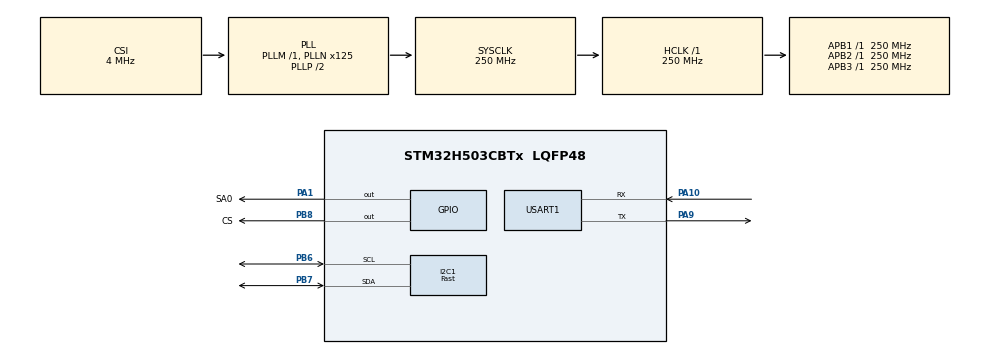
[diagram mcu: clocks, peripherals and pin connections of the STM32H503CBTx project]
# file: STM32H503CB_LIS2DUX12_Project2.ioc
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BOOTPATH.BootPathName=LEGACY
BOOTPATH.UserSelectedBootPath=LEGACY
I2C1.I2C_Speed_Mode=I2C_Fast
I2C1.Timing=0x10C043E5
Mcu.Family=STM32H5
Mcu.Name=STM32H503CBTx
Mcu.Package=LQFP48
NVIC.PriorityGroup=NVIC_PRIORITYGROUP_4
NVIC.USART1_IRQn=true\:0\:0\:false\:false\:true\:true\:true\:true
PA1.GPIO_Label=SA0
PA1.Signal=GPIO_Output
PA10.Mode=Asynchronous
PA10.Signal=USART1_RX
PA9.Mode=Asynchronous
PA9.Signal=USART1_TX
PB6.Mode=I2C
PB6.Signal=I2C1_SCL
PB7.Mode=I2C
PB7.Signal=I2C1_SDA
PB8.GPIO_Label=CS
PB8.Signal=GPIO_Output
ProjectManager.HeapSize=0x2000
ProjectManager.StackSize=0x4000
ProjectManager.TargetToolchain=MDK-ARM V5.37
RCC.ADCFreq_Value=250000000
RCC.AHBFreq_Value=250000000
RCC.APB1Freq_Value=250000000
RCC.APB1TimFreq_Value=250000000
RCC.APB2Freq_Value=250000000
RCC.APB2TimFreq_Value=250000000
RCC.APB3Freq_Value=250000000
RCC.CSI_VALUE=4000000
RCC.CortexFreq_Value=250000000
RCC.EPOD_VALUE=4000000
RCC.HCLKFreq_Value=250000000
RCC.HSE_VALUE=25000000
RCC.HSI48_VALUE=48000000
RCC.HSI_VALUE=64000000
RCC.LSE_VALUE=32768
RCC.LSIRC_VALUE=32000
RCC.PLL2FRACN=0
RCC.PLLFRACN=0
RCC.PLLN=125
RCC.SYSCLKFreq_VALUE=250000000
RCC.SYSCLKSource=RCC_SYSCLKSOURCE_PLLCLK
RCC.USBFreq_Value=48000000
RCC.VCOOutputFreq_Value=500000000
USART1.VirtualMode-Asynchronous=VM_ASYNC
VP_BOOTPATH_VS_BOOTPATH.Mode=BP_Activate
VP_CORTEX_M33_NS_VS_Hclk.Mode=Hclk_Mode
VP_ICACHE_VS_ICACHE.Mode=DirectMappedCache
VP_MEMORYMAP_VS_MEMORYMAP.Mode=CurAppReg
VP_PWR_VS_LPOM.Mode=PowerOptimisation
VP_PWR_VS_SECSignals.Mode=Security/Privilege
board=custom

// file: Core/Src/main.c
/* USER CODE BEGIN Header */
/**
  ******************************************************************************
  * @file           : main.c
  * @brief          : Main program body
  ******************************************************************************
  * @attention
  *
  * Copyright (c) 2025 STMicroelectronics.
  * All rights reserved.
  *
  * This software is licensed under terms that can be found in the LICENSE file
  * in the root directory of this software component.
  * If no LICENSE file comes with this software, it is provided AS-IS.
  *
  ******************************************************************************
  */
/* USER CODE END Header */
#include "main.h"
#include "i2c.h"
#include "icache.h"
#include "usart.h"
#include "gpio.h"

/* USER CODE BEGIN Includes */
#include "stdio.h"
#include "lis2dux12_reg.h"
/* USER CODE END Includes */

void SystemClock_Config(void);
/* USER CODE BEGIN PFP */
int fputc(int ch, FILE *f){
	HAL_UART_Transmit(&huart1 , (uint8_t *)&ch, 1, 0xFFFF);
	return ch;
}
/* USER CODE END PFP */

/* USER CODE BEGIN 0 */
#define SENSOR_BUS hi2c1

/* Private typedef -----------------------------------------------------------*/

/* Private macro -------------------------------------------------------------*/
#define    BOOT_TIME         10 //ms

/* Private variables ---------------------------------------------------------*/
static uint8_t tx_buffer[1000];
static lis2dux12_xl_data_t data_xl;
static lis2dux12_outt_data_t data_temp;

/* Extern variables ----------------------------------------------------------*/

/* Private functions ---------------------------------------------------------*/

/*
 *   WARNING:
 *   Functions declare in this section are defined at the end of this file
 *   and are strictly related to the hardware platform used.
 *
 */
static int32_t platform_write(void *handle, uint8_t reg, const uint8_t *bufp,
                              uint16_t len);
static int32_t platform_read(void *handle, uint8_t reg, uint8_t *bufp,
                             uint16_t len);
static void tx_com( uint8_t *tx_buffer, uint16_t len );
static void platform_delay(uint32_t ms);
static void platform_init(void);

float data_accx_min=0,data_accx_max=0;//加速度计x轴极值
float data_accy_min=0,data_accy_max=0;//加速度计y轴极值
float data_accz_min=0,data_accz_max=0;//加速度计z轴极值

float Offset_x=0.0f;//x偏移
float Scale_factor_x=0.0f;//x灵敏度
float Offset_y=0.0f;//y偏移
float Scale_factor_y=0.0f;//y灵敏度
float Offset_z=0.0f;//z偏移
float Scale_factor_z=0.0f;//z灵敏度

float calibrated_x=0.0f;//校准后加速度计x轴值
float calibrated_y=0.0f;//校准后加速度计y轴值
float calibrated_z=0.0f;//校准后加速度计z轴值

int acc_i=0;

uint8_t RxBuff[1];      //进入中断接收数据的数组
int Rx_flag=0;					//接受到数据标志

void calculate_calibration_params(void) {

	Offset_x=(data_accx_max+data_accx_min)/2;
	Offset_y=(data_accy_max+data_accy_min)/2;
	Offset_z=(data_accz_max+data_accz_min)/2;

	Scale_factor_x=(data_accx_max-data_accx_min)/2;
	Scale_factor_y=(data_accy_max-data_accy_min)/2;
	Scale_factor_z=(data_accz_max-data_accz_min)/2;

}

/* USER CODE END 0 */

int main(void)
{

  /* MCU Configuration--------------------------------------------------------*/

  /* Reset of all peripherals, Initializes the Flash interface and the Systick. */
  HAL_Init();

  /* Configure the system clock */
  SystemClock_Config();

  /* Initialize all configured peripherals */
  MX_GPIO_Init();
  MX_I2C1_Init();
  MX_ICACHE_Init();
  MX_USART1_UART_Init();
  /* USER CODE BEGIN 2 */
	printf("HELLO\n");
	HAL_GPIO_WritePin(CS_GPIO_Port, CS_Pin, GPIO_PIN_SET);
	HAL_GPIO_WritePin(SA0_GPIO_Port, SA0_Pin, GPIO_PIN_RESET);

  lis2dux12_status_t status;
  stmdev_ctx_t dev_ctx;
  uint8_t id;
  lis2dux12_md_t md;

  /* Initialize mems driver interface */
  dev_ctx.write_reg = platform_write;
  dev_ctx.read_reg = platform_read;
  dev_ctx.mdelay = platform_delay;
  dev_ctx.handle = &SENSOR_BUS;

  /* Initialize platform specific hardware */
//  platform_init();

  /* Wait sensor boot time */
  platform_delay(BOOT_TIME);

  lis2dux12_exit_deep_power_down(&dev_ctx);

  /* Check device ID */
  lis2dux12_device_id_get(&dev_ctx, &id);
	printf("LIS2DUX12_ID=0x%x,id=0x%x\n",LIS2DUX12_ID,id);
  if (id != LIS2DUX12_ID)
    while(1);

  /* Restore default configuration */
  lis2dux12_sw_reset(&dev_ctx);

  /* init bdu and add_inc */
  lis2dux12_init_set(&dev_ctx);

  /* Set Output Data Rate */
  md.fs =  LIS2DUX12_4g;
  md.bw = LIS2DUX12_ODR_div_4;
  md.odr = LIS2DUX12_3Hz_ULP;
  lis2dux12_mode_set(&dev_ctx, &md);

	HAL_UART_Receive_IT(&huart1, (uint8_t *)RxBuff, 1); //打开串口中断接收
  /* USER CODE END 2 */

  /* Infinite loop */
  /* USER CODE BEGIN WHILE */
  while (1)
  {
		/* Read output only if new values are available */
   /* Read output only if new values are available */
    lis2dux12_status_get(&dev_ctx, &status);
    if (status.drdy) {
      lis2dux12_xl_data_get(&dev_ctx, &md, &data_xl);
		if(Rx_flag==1)//X轴min
		{
			data_accx_min=data_xl.mg[0];
			Rx_flag=0;
			calculate_calibration_params();
		}
		else if(Rx_flag==2)//X轴max
		{
			data_accx_max=data_xl.mg[0];
			Rx_flag=0;
			calculate_calibration_params();
		}
		else if(Rx_flag==3)//Y轴min
		{
			data_accy_min=data_xl.mg[1];
			Rx_flag=0;
			calculate_calibration_params();
		}
		else if(Rx_flag==4)//Y轴max
		{
			data_accy_max=data_xl.mg[1];
			Rx_flag=0;
			calculate_calibration_params();
		}
		else if(Rx_flag==5)//Y轴min
		{
			data_accz_min=data_xl.mg[2];
			Rx_flag=0;
			calculate_calibration_params();
		}
		else if(Rx_flag==6)//Y轴max
		{
			data_accz_max=data_xl.mg[2];
			Rx_flag=0;
			calculate_calibration_params();
		}

			calibrated_x=1000*(data_xl.mg[0]-Offset_x)/Scale_factor_x;
			calibrated_y=1000*(data_xl.mg[1]-Offset_y)/Scale_factor_y;
			calibrated_z=1000*(data_xl.mg[2]-Offset_z)/Scale_factor_z;

			printf("min_x=%4.2f,max_x=%4.2lf,min_y=%4.2f,max_y=%4.2f,min_z=%4.2f,max_z=%4.2f\r\n",
			data_accx_min,data_accx_max,data_accy_min,data_accy_max,data_accz_min,data_accz_max);
			printf("校准前acc[mg]:%4.2f\t%4.2f\t%4.2f\r\n",
			data_xl.mg[0], data_xl.mg[1], data_xl.mg[2]);
			printf("校准后acc[mg]:%4.2f\t%4.2f\t%4.2f\r\n",
			calibrated_x, calibrated_y, calibrated_z);
		}
		HAL_Delay(10);

    /* USER CODE END WHILE */

  }
}

void SystemClock_Config(void)
{
  RCC_OscInitTypeDef RCC_OscInitStruct = {0};
  RCC_ClkInitTypeDef RCC_ClkInitStruct = {0};

  /** Configure the main internal regulator output voltage
  */
  __HAL_PWR_VOLTAGESCALING_CONFIG(PWR_REGULATOR_VOLTAGE_SCALE0);

  while(!__HAL_PWR_GET_FLAG(PWR_FLAG_VOSRDY)) {}

  /** Initializes the RCC Oscillators according to the specified parameters
  * in the RCC_OscInitTypeDef structure.
  */
  RCC_OscInitStruct.OscillatorType = RCC_OSCILLATORTYPE_CSI;
  RCC_OscInitStruct.CSIState = RCC_CSI_ON;
  RCC_OscInitStruct.CSICalibrationValue = RCC_CSICALIBRATION_DEFAULT;
  RCC_OscInitStruct.PLL.PLLState = RCC_PLL_ON;
  RCC_OscInitStruct.PLL.PLLSource = RCC_PLL1_SOURCE_CSI;
  RCC_OscInitStruct.PLL.PLLM = 1;
  RCC_OscInitStruct.PLL.PLLN = 125;
  RCC_OscInitStruct.PLL.PLLP = 2;
  RCC_OscInitStruct.PLL.PLLQ = 2;
  RCC_OscInitStruct.PLL.PLLR = 2;
  RCC_OscInitStruct.PLL.PLLRGE = RCC_PLL1_VCIRANGE_2;
  RCC_OscInitStruct.PLL.PLLVCOSEL = RCC_PLL1_VCORANGE_WIDE;
  RCC_OscInitStruct.PLL.PLLFRACN = 0;
  if (HAL_RCC_OscConfig(&RCC_OscInitStruct) != HAL_OK)
  {
    Error_Handler();
  }

  /** Initializes the CPU, AHB and APB buses clocks
  */
  RCC_ClkInitStruct.ClockType = RCC_CLOCKTYPE_HCLK|RCC_CLOCKTYPE_SYSCLK
                              |RCC_CLOCKTYPE_PCLK1|RCC_CLOCKTYPE_PCLK2
                              |RCC_CLOCKTYPE_PCLK3;
  RCC_ClkInitStruct.SYSCLKSource = RCC_SYSCLKSOURCE_PLLCLK;
  RCC_ClkInitStruct.AHBCLKDivider = RCC_SYSCLK_DIV1;
  RCC_ClkInitStruct.APB1CLKDivider = RCC_HCLK_DIV1;
  RCC_ClkInitStruct.APB2CLKDivider = RCC_HCLK_DIV1;
  RCC_ClkInitStruct.APB3CLKDivider = RCC_HCLK_DIV1;

  if (HAL_RCC_ClockConfig(&RCC_ClkInitStruct, FLASH_LATENCY_5) != HAL_OK)
  {
    Error_Handler();
  }

  /** Configure the programming delay
  */
  __HAL_FLASH_SET_PROGRAM_DELAY(FLASH_PROGRAMMING_DELAY_2);
}

/* USER CODE BEGIN 4 */

// 捕获中断回调函数，每次捕获到信号就会进入这个回调函数
void HAL_UART_RxCpltCallback(UART_HandleTypeDef*UartHandle)
{

    Rx_flag=RxBuff[0];
    RxBuff[0]=0;
//	printf("flag=%d",Rx_flag);
    HAL_UART_Receive_IT(&huart1, (uint8_t *)RxBuff, 1); //每接收一个数据，就打开一次串口中断接收，否则只会接收一个数据就停止接收

}

/*
 * @brief  Write generic device register (platform dependent)
 *
 * @param  handle    customizable argument. In this examples is used in
 *                   order to select the correct sensor bus handler.
 * @param  reg       register to write
 * @param  bufp      pointer to data to write in register reg
 * @param  len       number of consecutive register to write
 *
 */
static int32_t platform_write(void *handle, uint8_t reg,
                              const uint8_t *bufp, uint16_t len)
{
  HAL_I2C_Mem_Write(handle, LIS2DUX12_I2C_ADD_L, reg,
                    I2C_MEMADD_SIZE_8BIT, (uint8_t*) bufp, len, 1000);
  return 0;
}

/*
 * @brief  Read generic device register (platform dependent)
 *
 * @param  handle    customizable argument. In this examples is used in
 *                   order to select the correct sensor bus handler.
 * @param  reg       register to read
 * @param  bufp      pointer to buffer that store the data read
 * @param  len       number of consecutive register to read
 *
 */
static int32_t platform_read(void *handle, uint8_t reg, uint8_t *bufp,
                             uint16_t len)
{
  HAL_I2C_Mem_Read(handle, LIS2DUX12_I2C_ADD_L, reg,
                   I2C_MEMADD_SIZE_8BIT, bufp, len, 1000);
  return 0;
}

/*
 * @brief  platform specific delay (platform dependent)
 *
 * @param  ms        delay in ms
 *
 */
static void platform_delay(uint32_t ms)
{
  HAL_Delay(ms);

}
/* USER CODE END 4 */

void Error_Handler(void)
{
  __disable_irq();
  while (1)
  {
  }
}
